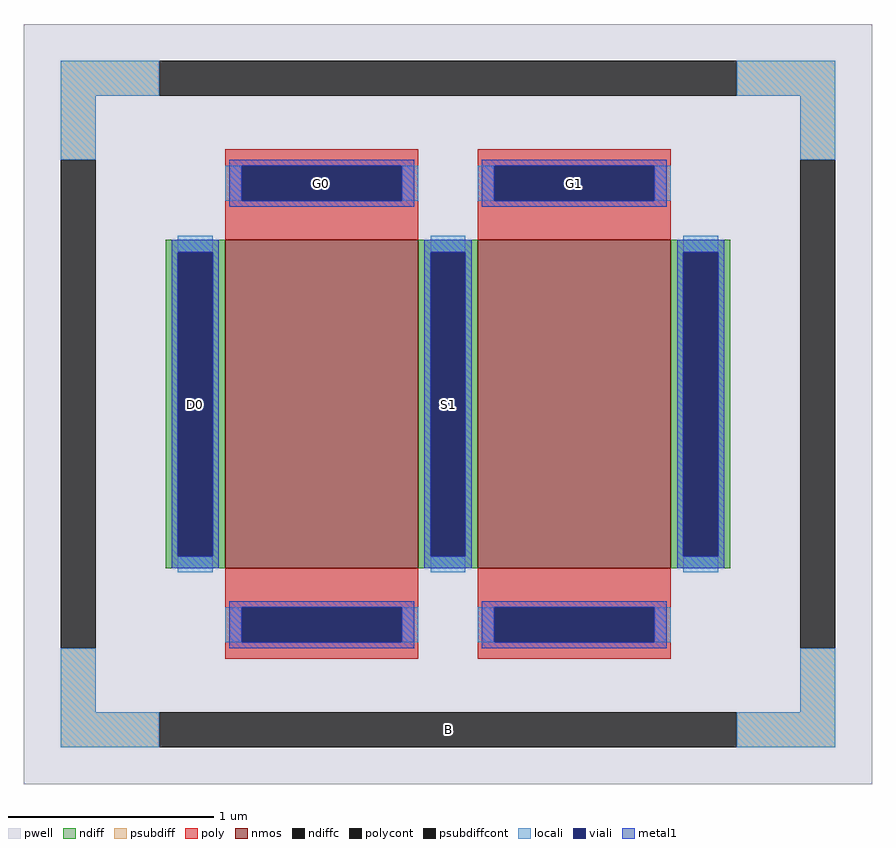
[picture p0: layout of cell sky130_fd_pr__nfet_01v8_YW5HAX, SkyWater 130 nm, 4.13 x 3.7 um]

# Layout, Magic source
magic
tech sky130A
magscale 1 2
<< pwell >>
rect -413 -370 413 370
<< nmos >>
rect -217 -160 -29 160
rect 29 -160 217 160
<< ndiff >>
rect -275 148 -217 160
rect -275 -148 -263 148
rect -229 -148 -217 148
rect -275 -160 -217 -148
rect -29 148 29 160
rect -29 -148 -17 148
rect 17 -148 29 148
rect -29 -160 29 -148
rect 217 148 275 160
rect 217 -148 229 148
rect 263 -148 275 148
rect 217 -160 275 -148
<< ndiffc >>
rect -263 -148 -229 148
rect -17 -148 17 148
rect 229 -148 263 148
<< psubdiff >>
rect -377 300 -281 334
rect 281 300 377 334
rect -377 238 -343 300
rect 343 238 377 300
rect -377 -300 -343 -238
rect 343 -300 377 -238
rect -377 -334 -281 -300
rect 281 -334 377 -300
<< psubdiffcont >>
rect -281 300 281 334
rect -377 -238 -343 238
rect 343 -238 377 238
rect -281 -334 281 -300
<< poly >>
rect -217 232 -29 248
rect -217 198 -201 232
rect -45 198 -29 232
rect -217 160 -29 198
rect 29 232 217 248
rect 29 198 45 232
rect 201 198 217 232
rect 29 160 217 198
rect -217 -198 -29 -160
rect -217 -232 -201 -198
rect -45 -232 -29 -198
rect -217 -248 -29 -232
rect 29 -198 217 -160
rect 29 -232 45 -198
rect 201 -232 217 -198
rect 29 -248 217 -232
<< polycont >>
rect -201 198 -45 232
rect 45 198 201 232
rect -201 -232 -45 -198
rect 45 -232 201 -198
<< locali >>
rect -377 300 -281 334
rect 281 300 377 334
rect -377 238 -343 300
rect 343 238 377 300
rect -217 198 -201 232
rect -45 198 -29 232
rect 29 198 45 232
rect 201 198 217 232
rect -263 148 -229 164
rect -263 -164 -229 -148
rect -17 148 17 164
rect -17 -164 17 -148
rect 229 148 263 164
rect 229 -164 263 -148
rect -217 -232 -201 -198
rect -45 -232 -29 -198
rect 29 -232 45 -198
rect 201 -232 217 -198
rect -377 -300 -343 -238
rect 343 -300 377 -238
rect -377 -334 -281 -300
rect 281 -334 377 -300
<< viali >>
rect -201 198 -45 232
rect 45 198 201 232
rect -263 -148 -229 148
rect -17 -148 17 148
rect 229 -148 263 148
rect -201 -232 -45 -198
rect 45 -232 201 -198
<< metal1 >>
rect -213 232 -33 238
rect -213 198 -201 232
rect -45 198 -33 232
rect -213 192 -33 198
rect 33 232 213 238
rect 33 198 45 232
rect 201 198 213 232
rect 33 192 213 198
rect -269 148 -223 160
rect -269 -148 -263 148
rect -229 -148 -223 148
rect -269 -160 -223 -148
rect -23 148 23 160
rect -23 -148 -17 148
rect 17 -148 23 148
rect -23 -160 23 -148
rect 223 148 269 160
rect 223 -148 229 148
rect 263 -148 269 148
rect 223 -160 269 -148
rect -213 -198 -33 -192
rect -213 -232 -201 -198
rect -45 -232 -33 -198
rect -213 -238 -33 -232
rect 33 -198 213 -192
rect 33 -232 45 -198
rect 201 -232 213 -198
rect 33 -238 213 -232
<< labels >>
rlabel psubdiffcont 0 -317 0 -317 0 B
port 1 nsew
rlabel ndiffc -246 0 -246 0 0 D0
port 2 nsew
rlabel polycont -123 215 -123 215 0 G0
port 3 nsew
rlabel ndiffc 0 0 0 0 0 S1
port 4 nsew
rlabel polycont 123 215 123 215 0 G1
port 5 nsew
<< properties >>
string FIXED_BBOX -360 -317 360 317
string gencell sky130_fd_pr__nfet_01v8
string library sky130
string parameters w 1.6 l 0.94 m 1 nf 2 diffcov 100 polycov 100 guard 1 glc 1 grc 1 gtc 1 gbc 1 tbcov 100 rlcov 100 topc 1 botc 1 poverlap 0 doverlap 1 lmin 0.15 wmin 0.42 class mosfet compatible {sky130_fd_pr__nfet_01v8 sky130_fd_pr__nfet_01v8_lvt  sky130_fd_bs_flash__special_sonosfet_star  sky130_fd_pr__nfet_g5v0d10v5 sky130_fd_pr__nfet_05v0_nvt  sky130_fd_pr__nfet_03v3_nvt} full_metal 1 viasrc 100 viadrn 100 viagate 100 viagb 0 viagr 0 viagl 0 viagt 0 doports 1 ad {int((nf+1)/2) * W/nf * 0.29} as {int((nf+2)/2) * W/nf * 0.29} pd {2*int((nf+1)/2) * (W/nf + 0.29)} ps {2*int((nf+2)/2) * (W/nf + 0.29)} nrd {0.29 / W} nrs {0.29 / W} sa 0 sb 0 sd 0 mult 1
<< end >>
